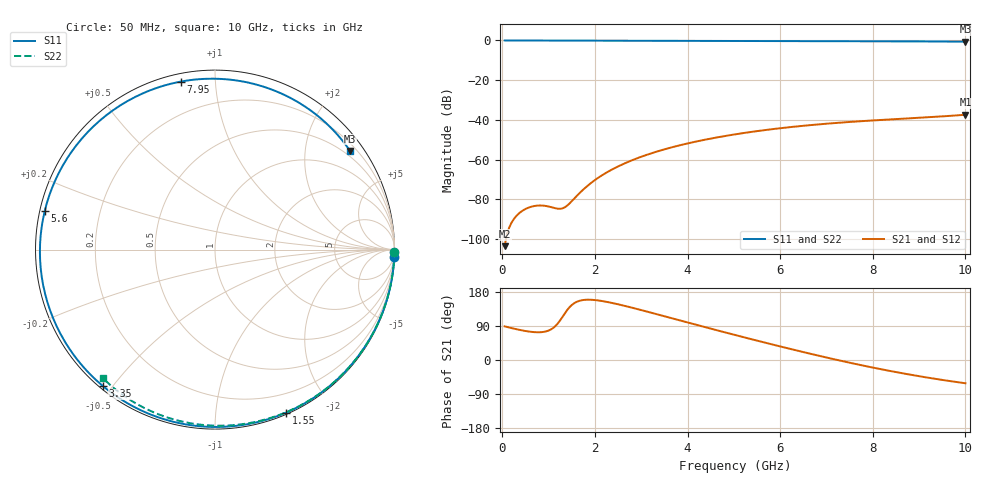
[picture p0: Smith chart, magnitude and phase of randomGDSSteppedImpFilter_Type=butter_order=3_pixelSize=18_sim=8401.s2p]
! freq	dB(S11)	phase(S11)	dB(S12)	phase(S12)
!  dB(S21)	phase(S21)	dB(S22)	phase(S22)
!S-par simulation data
#  GHz  S  DB  R 50
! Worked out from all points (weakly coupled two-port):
!   200 points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, 50 MHz to 10 GHz, reference 50 ohm
!   highest |S21| = -37.43 dB at 10 GHz (marker M1); lowest = -103.6 dB at 50 MHz (marker M2)
!   lowest |S11| = -0.6 dB at 10 GHz (marker M3), VSWR 28.40, Z = 18 + j151 ohm
!   |S11| at or under -10 dB: nowhere
!   |S22| runs from -0.4 to 0.0 dB; largest |S21 - S12| = 0
!   S11 on the Smith chart (normalised r, x): 50 MHz: 1, -50; 1.55 GHz: 0.02, -1.53; 3.35 GHz: 0.01, -0.47; 5.6 GHz: 0.01, +0.11; 7.95 GHz: 0.04, +0.82; 10 GHz: 0.36, +3.02
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0.05  -0.00 -2.3  -103.60 88.8  -103.60 88.8  -0.00 -0.8
0.35  -0.02 -15.7  -87.30 80.0  -87.30 80.0  -0.01 -5.3
0.7  -0.04 -31.1  -83.34 73.4  -83.34 73.4  -0.01 -10.6
1.15  -0.06 -50.3  -84.51 90.0  -84.51 90.0  -0.02 -17.3
1.55  -0.08 -66.5  -79.73 149.6  -79.73 149.6  -0.03 -23.2
1.75  -0.09 -74.3  -75.06 158.3  -75.06 158.3  -0.03 -26.2
2.05  -0.10 -85.6  -69.49 157.5  -69.49 157.5  -0.04 -30.5
2.4  -0.11 -98.2  -64.62 149.8  -64.62 149.8  -0.05 -35.6
2.85  -0.12 -113.4  -59.89 136.5  -59.89 136.5  -0.05 -42.1
3.35  -0.14 -129.2  -55.87 120.4  -55.87 120.4  -0.07 -49.1
3.4  -0.14 -130.8  -55.52 118.8  -55.52 118.8  -0.07 -49.8
4.2  -0.17 -154.3  -50.83 92.5  -50.83 92.5  -0.09 -60.8
5.05  -0.21 -177.8  -47.20 65.2  -47.20 65.2  -0.11 -72.1
5.6  -0.24 167.3  -45.35 48.0  -45.35 48.0  -0.13 -79.2
6.15  -0.27 152.4  -43.81 31.3  -43.81 31.3  -0.15 -86.1
6.7  -0.31 137.3  -42.53 15.1  -42.53 15.1  -0.18 -92.9
7.35  -0.35 119.0  -41.29 -3.1  -41.29 -3.1  -0.22 -100.8
7.95  -0.40 101.4  -40.36 -18.7  -40.36 -18.7  -0.26 -107.8
8.35  -0.43 89.2  -39.80 -28.4  -39.80 -28.4  -0.29 -112.5
8.75  -0.46 76.8  -39.27 -37.5  -39.27 -37.5  -0.32 -117.1
9.15  -0.50 64.0  -38.73 -45.8  -38.73 -45.8  -0.36 -121.6
10  -0.61 36.2  -37.43 -61.4  -37.43 -61.4  -0.44 -131.2
